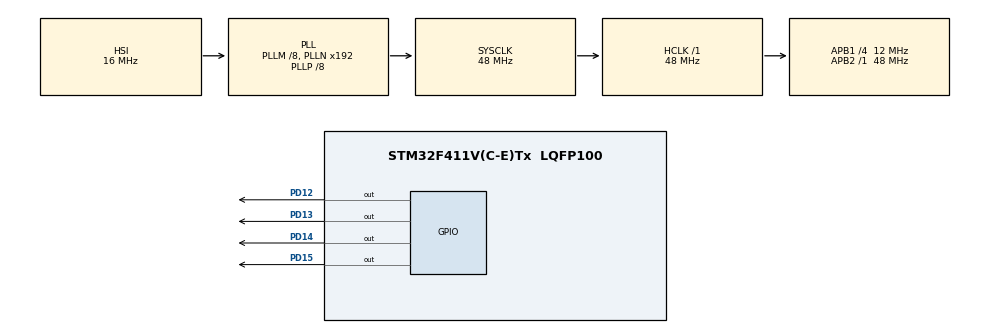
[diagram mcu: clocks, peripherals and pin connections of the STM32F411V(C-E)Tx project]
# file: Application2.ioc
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Mcu.Family=STM32F4
Mcu.Name=STM32F411V(C-E)Tx
Mcu.Package=LQFP100
NVIC.PriorityGroup=NVIC_PRIORITYGROUP_0
PA13.Mode=Serial_Wire
PA13.Signal=SYS_JTMS-SWDIO
PA14.Mode=Serial_Wire
PA14.Signal=SYS_JTCK-SWCLK
PD12.Signal=GPIO_Output
PD13.Signal=GPIO_Output
PD14.Signal=GPIO_Output
PD15.Signal=GPIO_Output
ProjectManager.HeapSize=0x200
ProjectManager.StackSize=0x400
ProjectManager.TargetToolchain=STM32CubeIDE
RCC.48MHZClocksFreq_Value=48000000
RCC.AHBFreq_Value=48000000
RCC.APB1CLKDivider=RCC_HCLK_DIV4
RCC.APB1Freq_Value=12000000
RCC.APB1TimFreq_Value=24000000
RCC.APB2Freq_Value=48000000
RCC.APB2TimFreq_Value=48000000
RCC.CortexFreq_Value=48000000
RCC.HCLKFreq_Value=48000000
RCC.HSE_VALUE=8000000
RCC.HSI_VALUE=16000000
RCC.PLLI2SM=5
RCC.PLLI2SN=200
RCC.PLLM=8
RCC.PLLP=RCC_PLLP_DIV8
RCC.PLLQ=8
RCC.SYSCLKFreq_VALUE=48000000
RCC.SYSCLKSource=RCC_SYSCLKSOURCE_PLLCLK
RCC.VCOOutputFreq_Value=384000000
board=STM32F411E-DISCO

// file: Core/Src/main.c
/* USER CODE BEGIN Header */
/**
  ******************************************************************************
  * @file           : main.c
  * @brief          : Main program body
  ******************************************************************************
  * @attention
  *
  * Copyright (c) 2022 STMicroelectronics.
  * All rights reserved.
  *
  * This software is licensed under terms that can be found in the LICENSE file
  * in the root directory of this software component.
  * If no LICENSE file comes with this software, it is provided AS-IS.
  *
  ******************************************************************************
  */
/* USER CODE END Header */
#include "main.h"

void SystemClock_Config(void);
static void MX_GPIO_Init(void);

/* USER CODE BEGIN 0 */
void gpio_d12_init()
{
	__HAL_RCC_GPIOD_CLK_ENABLE(); //Khoi tao xung cap clock
	uint32_t* GPIOD_MODER =0x40020c00;// tro toi dia chi Moder
	*GPIOD_MODER &= ~(0b11<<24);//dich bit 24 25 clear
	*GPIOD_MODER |= 0b01<<24;// or voi bit 01 for output mode
}

/*
 #define ON  1
 #define OFF 0
*/
typedef enum{
	OFF,
	ON
}led_state_t;

          /*PD12 Set mode */
void led_control(led_state_t value)/*REQUEST USER TRUYEN VAO 1 GIA TRI 0 OR 1*/
{
	uint32_t* GPIOD_ODR=(uint32_t*)0x40020c14;  // tro to thanh ghi OUTPUT DATA REGISTER
	if(value==ON)
		*GPIOD_ODR |= 1<<12; // dich trai 12 bit  den thanh ghi ORD12
	else
		*GPIOD_ODR &=~(1<<12);
}

/* USER CODE END 0 */

int main(void)
{

  /* MCU Configuration--------------------------------------------------------*/

  /* Reset of all peripherals, Initializes the Flash interface and the Systick. */
  HAL_Init();

  /* Configure the system clock */
  SystemClock_Config();

  /* Initialize all configured peripherals */
  MX_GPIO_Init();

  /* Infinite loop */
  while (1)
  {
	  HAL_GPIO_TogglePin(GPIOD, GPIO_PIN_13);
//	  led_control(ON);
      HAL_Delay(1000);
//	  led_control(OFF);
//	  HAL_Delay(1000);

  }
}

void SystemClock_Config(void)
{
  RCC_OscInitTypeDef RCC_OscInitStruct = {0};
  RCC_ClkInitTypeDef RCC_ClkInitStruct = {0};

  /** Configure the main internal regulator output voltage
  */
  __HAL_RCC_PWR_CLK_ENABLE();
  __HAL_PWR_VOLTAGESCALING_CONFIG(PWR_REGULATOR_VOLTAGE_SCALE1);

  /** Initializes the RCC Oscillators according to the specified parameters
  * in the RCC_OscInitTypeDef structure.
  */
  RCC_OscInitStruct.OscillatorType = RCC_OSCILLATORTYPE_HSI;
  RCC_OscInitStruct.HSIState = RCC_HSI_ON;
  RCC_OscInitStruct.HSICalibrationValue = RCC_HSICALIBRATION_DEFAULT;
  RCC_OscInitStruct.PLL.PLLState = RCC_PLL_ON;
  RCC_OscInitStruct.PLL.PLLSource = RCC_PLLSOURCE_HSI;
  RCC_OscInitStruct.PLL.PLLM = 8;
  RCC_OscInitStruct.PLL.PLLN = 192;
  RCC_OscInitStruct.PLL.PLLP = RCC_PLLP_DIV8;
  RCC_OscInitStruct.PLL.PLLQ = 8;
  if (HAL_RCC_OscConfig(&RCC_OscInitStruct) != HAL_OK)
  {
    Error_Handler();
  }

  /** Initializes the CPU, AHB and APB buses clocks
  */
  RCC_ClkInitStruct.ClockType = RCC_CLOCKTYPE_HCLK|RCC_CLOCKTYPE_SYSCLK
                              |RCC_CLOCKTYPE_PCLK1|RCC_CLOCKTYPE_PCLK2;
  RCC_ClkInitStruct.SYSCLKSource = RCC_SYSCLKSOURCE_PLLCLK;
  RCC_ClkInitStruct.AHBCLKDivider = RCC_SYSCLK_DIV1;
  RCC_ClkInitStruct.APB1CLKDivider = RCC_HCLK_DIV4;
  RCC_ClkInitStruct.APB2CLKDivider = RCC_HCLK_DIV1;

  if (HAL_RCC_ClockConfig(&RCC_ClkInitStruct, FLASH_LATENCY_1) != HAL_OK)
  {
    Error_Handler();
  }
}

static void MX_GPIO_Init(void)
{
  GPIO_InitTypeDef GPIO_InitStruct = {0};

  /* GPIO Ports Clock Enable */
  __HAL_RCC_GPIOD_CLK_ENABLE();
  __HAL_RCC_GPIOA_CLK_ENABLE();

  /*Configure GPIO pin Output Level */
  HAL_GPIO_WritePin(GPIOD, GPIO_PIN_12|GPIO_PIN_13|GPIO_PIN_14|GPIO_PIN_15, GPIO_PIN_RESET);

  /*Configure GPIO pins : PD12 PD13 PD14 PD15 */
  GPIO_InitStruct.Pin = GPIO_PIN_12|GPIO_PIN_13|GPIO_PIN_14|GPIO_PIN_15;
  GPIO_InitStruct.Mode = GPIO_MODE_OUTPUT_PP;
  GPIO_InitStruct.Pull = GPIO_NOPULL;
  GPIO_InitStruct.Speed = GPIO_SPEED_FREQ_LOW;
  HAL_GPIO_Init(GPIOD, &GPIO_InitStruct);

}

void Error_Handler(void)
{
  __disable_irq();
  while (1)
  {
  }
}
